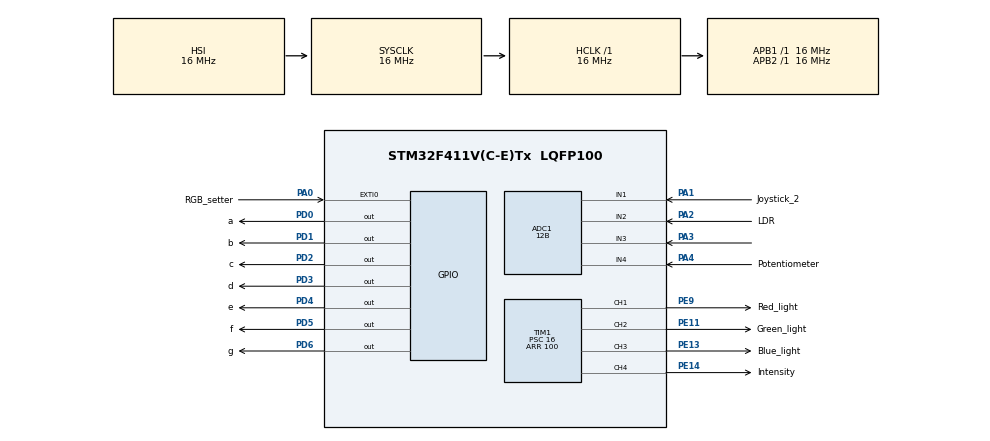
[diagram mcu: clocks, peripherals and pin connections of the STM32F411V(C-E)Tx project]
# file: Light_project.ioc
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ADC1.Channel-0\#ChannelRegularConversion=ADC_CHANNEL_3
ADC1.Channel-1\#ChannelRegularConversion=ADC_CHANNEL_1
ADC1.Channel-2\#ChannelRegularConversion=ADC_CHANNEL_2
ADC1.Channel-4\#ChannelRegularConversion=ADC_CHANNEL_4
ADC1.ClockPrescaler=ADC_CLOCK_SYNC_PCLK_DIV2
ADC1.ContinuousConvMode=ENABLE
ADC1.DMAContinuousRequests=ENABLE
ADC1.DataAlign=ADC_DATAALIGN_RIGHT
ADC1.DiscontinuousConvMode=DISABLE
ADC1.EOCSelection=ADC_EOC_SINGLE_CONV
ADC1.EnableAnalogWatchDog=false
ADC1.ExternalTrigConv=ADC_SOFTWARE_START
ADC1.ExternalTrigConvEdge=ADC_EXTERNALTRIGCONVEDGE_NONE
ADC1.InjNumberOfConversion=0
ADC1.NbrOfConversion=4
ADC1.NbrOfConversionFlag=1
ADC1.Rank-0\#ChannelRegularConversion=1
ADC1.Rank-1\#ChannelRegularConversion=2
ADC1.Rank-2\#ChannelRegularConversion=3
ADC1.Rank-4\#ChannelRegularConversion=4
ADC1.Resolution=ADC_RESOLUTION_12B
ADC1.SamplingTime-0\#ChannelRegularConversion=ADC_SAMPLETIME_3CYCLES
ADC1.SamplingTime-1\#ChannelRegularConversion=ADC_SAMPLETIME_3CYCLES
ADC1.SamplingTime-2\#ChannelRegularConversion=ADC_SAMPLETIME_3CYCLES
ADC1.SamplingTime-4\#ChannelRegularConversion=ADC_SAMPLETIME_3CYCLES
ADC1.ScanConvMode=ENABLE
ADC1.master=1
Dma.ADC1.0.Direction=DMA_PERIPH_TO_MEMORY
Dma.ADC1.0.FIFOMode=DMA_FIFOMODE_DISABLE
Dma.ADC1.0.Instance=DMA2_Stream0
Dma.ADC1.0.MemDataAlignment=DMA_MDATAALIGN_WORD
Dma.ADC1.0.MemInc=DMA_MINC_ENABLE
Dma.ADC1.0.Mode=DMA_CIRCULAR
Dma.ADC1.0.PeriphDataAlignment=DMA_PDATAALIGN_WORD
Dma.ADC1.0.PeriphInc=DMA_PINC_DISABLE
Dma.ADC1.0.Priority=DMA_PRIORITY_LOW
Dma.Request0=ADC1
Mcu.Family=STM32F4
Mcu.Name=STM32F411V(C-E)Tx
Mcu.Package=LQFP100
NVIC.DMA2_Stream0_IRQn=true\:0\:0\:false\:false\:true\:false
NVIC.EXTI0_IRQn=true\:0\:0\:false\:false\:true\:true
NVIC.PriorityGroup=NVIC_PRIORITYGROUP_4
PA0-WKUP.GPIO_Label=RGB_setter
PA0-WKUP.Signal=GPXTI0
PA1.GPIO_Label=Joystick_2
PA1.Signal=ADCx_IN1
PA2.GPIO_Label=LDR
PA2.Signal=ADCx_IN2
PA3.Signal=ADCx_IN3
PA4.GPIO_Label=Potentiometer
PA4.Signal=ADCx_IN4
PD0.GPIO_Label=a
PD0.Signal=GPIO_Output
PD1.GPIO_Label=b
PD1.Signal=GPIO_Output
PD2.GPIO_Label=c
PD2.Signal=GPIO_Output
PD3.GPIO_Label=d
PD3.Signal=GPIO_Output
PD4.GPIO_Label=e
PD4.Signal=GPIO_Output
PD5.GPIO_Label=f
PD5.Signal=GPIO_Output
PD6.GPIO_Label=g
PD6.Signal=GPIO_Output
PE11.GPIO_Label=Green_light
PE11.Signal=S_TIM1_CH2
PE13.GPIO_Label=Blue_light
PE13.Signal=S_TIM1_CH3
PE14.GPIO_Label=Intensity
PE14.Signal=S_TIM1_CH4
PE9.GPIO_Label=Red_light
PE9.Signal=S_TIM1_CH1
ProjectManager.HeapSize=0x200
ProjectManager.StackSize=0x400
ProjectManager.TargetToolchain=MDK-ARM V5
RCC.AHBFreq_Value=16000000
RCC.APB1Freq_Value=16000000
RCC.APB2Freq_Value=16000000
RCC.CortexFreq_Value=16000000
RCC.HSE_VALUE=25000000
RCC.HSI_VALUE=16000000
RCC.LSE_VALUE=32768
RCC.SYSCLKFreq_VALUE=16000000
RCC.VCOOutputFreq_Value=192000000
SH.ADCx_IN1.0=ADC1_IN1,IN1
SH.ADCx_IN2.0=ADC1_IN2,IN2
SH.ADCx_IN3.0=ADC1_IN3,IN3
SH.ADCx_IN4.0=ADC1_IN4,IN4
SH.S_TIM1_CH1.0=TIM1_CH1,PWM Generation1 CH1
SH.S_TIM1_CH2.0=TIM1_CH2,PWM Generation2 CH2
SH.S_TIM1_CH3.0=TIM1_CH3,PWM Generation3 CH3
SH.S_TIM1_CH4.0=TIM1_CH4,PWM Generation4 CH4
TIM1.Channel-PWM\ Generation1\ CH1=TIM_CHANNEL_1
TIM1.Channel-PWM\ Generation2\ CH2=TIM_CHANNEL_2
TIM1.Channel-PWM\ Generation3\ CH3=TIM_CHANNEL_3
TIM1.Channel-PWM\ Generation4\ CH4=TIM_CHANNEL_4
TIM1.Period=100
TIM1.Prescaler=16
VP_TIM1_VS_ClockSourceINT.Mode=Internal
board=custom

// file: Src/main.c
/**
  ******************************************************************************
  * @file           : main.c
  * @brief          : Main program body
  ******************************************************************************
  ** This notice applies to any and all portions of this file
  * that are not between comment pairs USER CODE BEGIN and
  * USER CODE END. Other portions of this file, whether
  * inserted by the user or by software development tools
  * are owned by their respective copyright owners.
  *
  * COPYRIGHT(c) 2019 STMicroelectronics
  *
  * Redistribution and use in source and binary forms, with or without modification,
  * are permitted provided that the following conditions are met:
  *   1. Redistributions of source code must retain the above copyright notice,
  *      this list of conditions and the following disclaimer.
  *   2. Redistributions in binary form must reproduce the above copyright notice,
  *      this list of conditions and the following disclaimer in the documentation
  *      and/or other materials provided with the distribution.
  *   3. Neither the name of STMicroelectronics nor the names of its contributors
  *      may be used to endorse or promote products derived from this software
  *      without specific prior written permission.
  *
  * THIS SOFTWARE IS PROVIDED BY THE COPYRIGHT HOLDERS AND CONTRIBUTORS "AS IS"
  * AND ANY EXPRESS OR IMPLIED WARRANTIES, INCLUDING, BUT NOT LIMITED TO, THE
  * IMPLIED WARRANTIES OF MERCHANTABILITY AND FITNESS FOR A PARTICULAR PURPOSE ARE
  * DISCLAIMED. IN NO EVENT SHALL THE COPYRIGHT HOLDER OR CONTRIBUTORS BE LIABLE
  * FOR ANY DIRECT, INDIRECT, INCIDENTAL, SPECIAL, EXEMPLARY, OR CONSEQUENTIAL
  * DAMAGES (INCLUDING, BUT NOT LIMITED TO, PROCUREMENT OF SUBSTITUTE GOODS OR
  * SERVICES; LOSS OF USE, DATA, OR PROFITS; OR BUSINESS INTERRUPTION) HOWEVER
  * CAUSED AND ON ANY THEORY OF LIABILITY, WHETHER IN CONTRACT, STRICT LIABILITY,
  * OR TORT (INCLUDING NEGLIGENCE OR OTHERWISE) ARISING IN ANY WAY OUT OF THE USE
  * OF THIS SOFTWARE, EVEN IF ADVISED OF THE POSSIBILITY OF SUCH DAMAGE.
  *
  ******************************************************************************
  */
#include "main.h"
#include "stm32f4xx_hal.h"

/* USER CODE BEGIN Includes */
#include <stdbool.h>

//Defines
#define umbral_luz 200 // umbral que determina si hay o no luz
#define lim1 800 // límite asociado a un extremo del eje del potenciómetro
#define lim2 1200 // límite asociado a un extremo del eje del potenciómetro

/* USER CODE END Includes */

ADC_HandleTypeDef hadc1; // structura del Analog Digital Converter que guarda toda la configuración
DMA_HandleTypeDef hdma_adc1; // // structura del Direct MEmory Acces del Analog Digital Converter que guarda toda la configuración

TIM_HandleTypeDef htim1; // structura del Temporizador que guarda toda la configuración

/* USER CODE BEGIN PV */
/* Private variables ---------------------------------------------------------*/

/* USER CODE END PV */

void SystemClock_Config(void);
static void MX_GPIO_Init(void);
static void MX_DMA_Init(void);
static void MX_TIM1_Init(void);
static void MX_ADC1_Init(void);

void HAL_TIM_MspPostInit(TIM_HandleTypeDef *htim);

/* USER CODE BEGIN PFP */
/* Private function prototypes -----------------------------------------------*/

/* USER CODE END PFP */

/* USER CODE BEGIN 0 */

//Variables

volatile uint32_t ADC_buffer[4]; // Buffer que guarda los valores analógicos que se leen desde la DMA
int Intensidad = 0; // Valor del duty cycle que representará la intensidad a la que ilumina el LED seleccionado
bool R, L, U, D; // boolean variables para definir posición del joystick
volatile uint32_t Joystick_V, Joystick_H, LDR, Potentiometer; // Valores analógicos de los ejes X e Y del Joystic respectivamente y de la LDR y el potenciómetro
uint32_t num; // variable para representar en el display

// Valores que guardan el duty cycle de cada una de las luces

int Red_light, Green_light, Blue_light;

volatile bool flag = 0; // flag que simboliza la interrupción

//Funciones

void map ()// funcion encargada de traducir el valor analógico leído del Joystick a valores de dcha, izq, arriba y abajo o lo que se precise
{
	R = L = U = D = 0;
	if (ADC_buffer[0] < lim1)
		R = 1;
	if (ADC_buffer[0] > lim2)
		L = 1;
	if (ADC_buffer[1] < lim1)
		D = 1;
	if (ADC_buffer[1] > lim2)
		U = 1;
}

void Display_control (uint32_t P) // Decodifica el valor del potenciómetro y lo representa en el display
{
		num = P%10; //asocia al valor de la lectura analógica un número entre 0 y 97
		if (num == 9)
				num = 9; // Para evitar que se pase del máximo
		switch (num)
		{
			case 0:		// Display = 0xFC; //Respresenta el número 0 en el display ("0b11111100")
			{
								HAL_GPIO_WritePin(GPIOD, GPIO_PIN_0,  GPIO_PIN_SET);
								HAL_GPIO_WritePin(GPIOD, GPIO_PIN_1,  GPIO_PIN_SET);
								HAL_GPIO_WritePin(GPIOD, GPIO_PIN_2,  GPIO_PIN_SET);
								HAL_GPIO_WritePin(GPIOD, GPIO_PIN_3,  GPIO_PIN_SET);
								HAL_GPIO_WritePin(GPIOD, GPIO_PIN_4,  GPIO_PIN_SET);
								HAL_GPIO_WritePin(GPIOD, GPIO_PIN_5,  GPIO_PIN_SET);
								HAL_GPIO_WritePin(GPIOD, GPIO_PIN_6,  GPIO_PIN_RESET);
				break;
			}
			case 1:		// Display = 0x60; //Respresenta el número 0 en el display ("0b01100000")
			{
								HAL_GPIO_WritePin(GPIOD, GPIO_PIN_0,  GPIO_PIN_RESET);
								HAL_GPIO_WritePin(GPIOD, GPIO_PIN_1,  GPIO_PIN_SET);
								HAL_GPIO_WritePin(GPIOD, GPIO_PIN_2,  GPIO_PIN_SET);
								HAL_GPIO_WritePin(GPIOD, GPIO_PIN_3,  GPIO_PIN_RESET);
								HAL_GPIO_WritePin(GPIOD, GPIO_PIN_4,  GPIO_PIN_RESET);
								HAL_GPIO_WritePin(GPIOD, GPIO_PIN_5,  GPIO_PIN_RESET);
								HAL_GPIO_WritePin(GPIOD, GPIO_PIN_6,  GPIO_PIN_RESET);
				break;
			}
			case 2:		// Display = 0xDA; //Respresenta el número 0 en el display ("0b11011010")
			{
								HAL_GPIO_WritePin(GPIOD, GPIO_PIN_0,  GPIO_PIN_SET);
								HAL_GPIO_WritePin(GPIOD, GPIO_PIN_1,  GPIO_PIN_SET);
								HAL_GPIO_WritePin(GPIOD, GPIO_PIN_2,  GPIO_PIN_RESET);
								HAL_GPIO_WritePin(GPIOD, GPIO_PIN_3,  GPIO_PIN_SET);
								HAL_GPIO_WritePin(GPIOD, GPIO_PIN_4,  GPIO_PIN_SET);
								HAL_GPIO_WritePin(GPIOD, GPIO_PIN_5,  GPIO_PIN_RESET);
								HAL_GPIO_WritePin(GPIOD, GPIO_PIN_6,  GPIO_PIN_SET);
				break;
			}
			case 3:		// Display = 0xF2; //Respresenta el número 0 en el display ("0b11110010")
			{
								HAL_GPIO_WritePin(GPIOD, GPIO_PIN_0,  GPIO_PIN_SET);
								HAL_GPIO_WritePin(GPIOD, GPIO_PIN_1,  GPIO_PIN_SET);
								HAL_GPIO_WritePin(GPIOD, GPIO_PIN_2,  GPIO_PIN_SET);
								HAL_GPIO_WritePin(GPIOD, GPIO_PIN_3,  GPIO_PIN_SET);
								HAL_GPIO_WritePin(GPIOD, GPIO_PIN_4,  GPIO_PIN_RESET);
								HAL_GPIO_WritePin(GPIOD, GPIO_PIN_5,  GPIO_PIN_RESET);
								HAL_GPIO_WritePin(GPIOD, GPIO_PIN_6,  GPIO_PIN_SET);
				break;
			}
			case 4:		// Display = 0x66; //Respresenta el número 0 en el display ("0b01100110")
			{
								HAL_GPIO_WritePin(GPIOD, GPIO_PIN_0,  GPIO_PIN_RESET);
								HAL_GPIO_WritePin(GPIOD, GPIO_PIN_1,  GPIO_PIN_SET);
								HAL_GPIO_WritePin(GPIOD, GPIO_PIN_2,  GPIO_PIN_SET);
								HAL_GPIO_WritePin(GPIOD, GPIO_PIN_3,  GPIO_PIN_RESET);
								HAL_GPIO_WritePin(GPIOD, GPIO_PIN_4,  GPIO_PIN_RESET);
								HAL_GPIO_WritePin(GPIOD, GPIO_PIN_5,  GPIO_PIN_SET);
								HAL_GPIO_WritePin(GPIOD, GPIO_PIN_6,  GPIO_PIN_SET);
				break;
			}
			case 5:		// Display = 0xB6; //Respresenta el número 0 en el display ("0b10110110")
			{
								HAL_GPIO_WritePin(GPIOD, GPIO_PIN_0,  GPIO_PIN_SET);
								HAL_GPIO_WritePin(GPIOD, GPIO_PIN_1,  GPIO_PIN_RESET);
								HAL_GPIO_WritePin(GPIOD, GPIO_PIN_2,  GPIO_PIN_SET);
								HAL_GPIO_WritePin(GPIOD, GPIO_PIN_3,  GPIO_PIN_SET);
								HAL_GPIO_WritePin(GPIOD, GPIO_PIN_4,  GPIO_PIN_RESET);
								HAL_GPIO_WritePin(GPIOD, GPIO_PIN_5,  GPIO_PIN_SET);
								HAL_GPIO_WritePin(GPIOD, GPIO_PIN_6,  GPIO_PIN_SET);
				break;
			}
			case 6:		// Display = 0xBE; //Respresenta el número 0 en el display ("0b10111110")
			{
								HAL_GPIO_WritePin(GPIOD, GPIO_PIN_0,  GPIO_PIN_SET);
								HAL_GPIO_WritePin(GPIOD, GPIO_PIN_1,  GPIO_PIN_RESET);
								HAL_GPIO_WritePin(GPIOD, GPIO_PIN_2,  GPIO_PIN_SET);
								HAL_GPIO_WritePin(GPIOD, GPIO_PIN_3,  GPIO_PIN_SET);
								HAL_GPIO_WritePin(GPIOD, GPIO_PIN_4,  GPIO_PIN_SET);
								HAL_GPIO_WritePin(GPIOD, GPIO_PIN_5,  GPIO_PIN_SET);
								HAL_GPIO_WritePin(GPIOD, GPIO_PIN_6,  GPIO_PIN_SET);
				break;
			}
			case 7:		// Display = 0xE0; //Respresenta el número 0 en el display ("0b11100000")
			{
								HAL_GPIO_WritePin(GPIOD, GPIO_PIN_0,  GPIO_PIN_SET);
								HAL_GPIO_WritePin(GPIOD, GPIO_PIN_1,  GPIO_PIN_SET);
								HAL_GPIO_WritePin(GPIOD, GPIO_PIN_2,  GPIO_PIN_SET);
								HAL_GPIO_WritePin(GPIOD, GPIO_PIN_3,  GPIO_PIN_RESET);
								HAL_GPIO_WritePin(GPIOD, GPIO_PIN_4,  GPIO_PIN_RESET);
								HAL_GPIO_WritePin(GPIOD, GPIO_PIN_5,  GPIO_PIN_RESET);
								HAL_GPIO_WritePin(GPIOD, GPIO_PIN_6,  GPIO_PIN_RESET);
				break;
			}
			case 8:		// Display = 0xFE; //Respresenta el número 0 en el display ("0b11111110")
			{
								HAL_GPIO_WritePin(GPIOD, GPIO_PIN_0,  GPIO_PIN_SET);
								HAL_GPIO_WritePin(GPIOD, GPIO_PIN_1,  GPIO_PIN_SET);
								HAL_GPIO_WritePin(GPIOD, GPIO_PIN_2,  GPIO_PIN_SET);
								HAL_GPIO_WritePin(GPIOD, GPIO_PIN_3,  GPIO_PIN_SET);
								HAL_GPIO_WritePin(GPIOD, GPIO_PIN_4,  GPIO_PIN_SET);
								HAL_GPIO_WritePin(GPIOD, GPIO_PIN_5,  GPIO_PIN_SET);
								HAL_GPIO_WritePin(GPIOD, GPIO_PIN_6,  GPIO_PIN_SET);
								break;
			}
			case 9:		// Display = 0xE6; //Respresenta el número 0 en el display ("0b11100110")
			{
								HAL_GPIO_WritePin(GPIOD, GPIO_PIN_0,  GPIO_PIN_SET);
								HAL_GPIO_WritePin(GPIOD, GPIO_PIN_1,  GPIO_PIN_SET);
								HAL_GPIO_WritePin(GPIOD, GPIO_PIN_2,  GPIO_PIN_SET);
								HAL_GPIO_WritePin(GPIOD, GPIO_PIN_3,  GPIO_PIN_RESET);
								HAL_GPIO_WritePin(GPIOD, GPIO_PIN_4,  GPIO_PIN_RESET);
								HAL_GPIO_WritePin(GPIOD, GPIO_PIN_5,  GPIO_PIN_SET);
								HAL_GPIO_WritePin(GPIOD, GPIO_PIN_6,  GPIO_PIN_SET);
								break;
			}
		}

		// Apaga el Display tras cada ciclo

		HAL_GPIO_WritePin(GPIOD, GPIO_PIN_0,  GPIO_PIN_RESET);
		HAL_GPIO_WritePin(GPIOD, GPIO_PIN_1,  GPIO_PIN_RESET);
		HAL_GPIO_WritePin(GPIOD, GPIO_PIN_2,  GPIO_PIN_RESET);
		HAL_GPIO_WritePin(GPIOD, GPIO_PIN_3,  GPIO_PIN_RESET);
		HAL_GPIO_WritePin(GPIOD, GPIO_PIN_4,  GPIO_PIN_RESET);
		HAL_GPIO_WritePin(GPIOD, GPIO_PIN_5,  GPIO_PIN_RESET);
		HAL_GPIO_WritePin(GPIOD, GPIO_PIN_6,  GPIO_PIN_RESET);
}

void enable_lights(bool EN) // Función que determina si cuándo se iluminan las luces
{
		if (EN)
		{
					__HAL_TIM_SET_COMPARE(&htim1, TIM_CHANNEL_4, Intensidad); // Iluminan los LEDs con la intensidad determinada por el potenciómetro
		}
		else
					__HAL_TIM_SET_COMPARE(&htim1, TIM_CHANNEL_4, 0); // Apaga los LEDs en caso de que haya luz
}

void RGB_Control ()
{
				map();// mapea el valor del joystick para determinar la posición en la que se encuentra

				if(U) //En caso de que esté arriba iluminan dos luces de modo que cada una tenga un valor disstinto
				{
						Red_light = 100 - (Joystick_V%100);
						Blue_light = Joystick_H - Joystick_V%100;

					  // Ilumina en función de los valores analógicos

						__HAL_TIM_SET_COMPARE(&htim1, TIM_CHANNEL_1, Red_light);
						__HAL_TIM_SET_COMPARE(&htim1, TIM_CHANNEL_3, Blue_light);
				}
				if(D) //En caso de que esté abajo iluminan dos luces de modo que cada una tenga un valor disstinto
				{
						Green_light = Joystick_V%100;
						Red_light = Joystick_H%100;

					  // Ilumina en función de los valores analógicos

						__HAL_TIM_SET_COMPARE(&htim1, TIM_CHANNEL_2, Green_light);
						__HAL_TIM_SET_COMPARE(&htim1, TIM_CHANNEL_1, Red_light);
				}
				if(R) //En caso de que esté a la derecha iluminan dos luces de modo que cada una tenga un valor disstinto
				{
						Blue_light = Joystick_H- (Joystick_V%100);
						Green_light = Joystick_V%100;

					  // Ilumina en función de los valores analógicos

						__HAL_TIM_SET_COMPARE(&htim1, TIM_CHANNEL_3, Blue_light);
						__HAL_TIM_SET_COMPARE(&htim1, TIM_CHANNEL_2, Green_light);
				}
				if(L) //En caso de que esté a la izquierda iluminan las tres luces de modo que cada una tenga un valor disstinto
				{
						Blue_light = Joystick_H- (Joystick_V%100);
						Green_light = Joystick_V%100;
						Red_light = 100 - (Joystick_V%100);

					  // Ilumina en función de los valores analógicos

						__HAL_TIM_SET_COMPARE(&htim1, TIM_CHANNEL_3, Blue_light);
						__HAL_TIM_SET_COMPARE(&htim1, TIM_CHANNEL_2, Green_light);
						__HAL_TIM_SET_COMPARE(&htim1, TIM_CHANNEL_1, Red_light);
				}
}

void HAL_GPIO_EXTI_Callback(uint16_t GPIO_Pin) // Callback de la interrupción
{
	if (GPIO_Pin == GPIO_PIN_0)
	{
			flag = !flag;
	}
}

void HAL_ADC_ConvCpltCallback(ADC_HandleTypeDef* hadc1) // Callback del DMA
{
			// Asignaciones de las lecturas guardadas en el ADC_buffer con sus respectivas varibales
			Joystick_V = ADC_buffer [0];
			Joystick_H = ADC_buffer [1];
			LDR = ADC_buffer [2];
			Potentiometer = ADC_buffer [3];

			// Programa

			Intensidad = ((Potentiometer)/100)%100; // Transforma el valor de la lectura analógica a un valor asociado al duty cycle de los LEDs
				if(LDR < umbral_luz) // La lectura de la resistencia está por debajo del umbral
				{
						enable_lights(false); // en caso de que haya más luz de la esperada apaga las luces
				}
				else
				{
						enable_lights(true); // en caso de que haya más luz de la esperada enciende las luces
				}

				Display_control(Intensidad); // le pasa el valor del potenciómetro a la funciçon para poder decodificar el valor y representarlo en el display

				if(flag == 0) // flag que indica que se ha pulsado el botón
				{
						RGB_Control(); // Llama a la función que controla el cambio del color del led RGB
				}
}

/* USER CODE END 0 */

int main(void)
{

  /* MCU Configuration----------------------------------------------------------*/

  /* Reset of all peripherals, Initializes the Flash interface and the Systick. */
  HAL_Init();

  /* Configure the system clock */
  SystemClock_Config();

  /* Initialize all configured peripherals */
  MX_GPIO_Init();
  MX_DMA_Init();
  MX_TIM1_Init();
  MX_ADC1_Init();
  /* USER CODE BEGIN 2 */

	// Inicialización de los canales del temporizador

	HAL_TIM_PWM_Start(&htim1, TIM_CHANNEL_1);
	HAL_TIM_PWM_Start(&htim1, TIM_CHANNEL_2);
	HAL_TIM_PWM_Start(&htim1, TIM_CHANNEL_3);
  HAL_TIM_PWM_Start(&htim1, TIM_CHANNEL_4);

	HAL_ADC_Start_DMA (&hadc1, ADC_buffer, 4); // le pasa al DMA el vector donde guardará los valores leídos en los canales
  /* USER CODE END 2 */

  /* Infinite loop */
  while (1)
  {

  }

}

void SystemClock_Config(void)
{

  RCC_OscInitTypeDef RCC_OscInitStruct;
  RCC_ClkInitTypeDef RCC_ClkInitStruct;

    /**Configure the main internal regulator output voltage
    */
  __HAL_RCC_PWR_CLK_ENABLE();

  __HAL_PWR_VOLTAGESCALING_CONFIG(PWR_REGULATOR_VOLTAGE_SCALE1);

    /**Initializes the CPU, AHB and APB busses clocks
    */
  RCC_OscInitStruct.OscillatorType = RCC_OSCILLATORTYPE_HSI;
  RCC_OscInitStruct.HSIState = RCC_HSI_ON;
  RCC_OscInitStruct.HSICalibrationValue = 16;
  RCC_OscInitStruct.PLL.PLLState = RCC_PLL_NONE;
  if (HAL_RCC_OscConfig(&RCC_OscInitStruct) != HAL_OK)
  {
    _Error_Handler(__FILE__, __LINE__);
  }

    /**Initializes the CPU, AHB and APB busses clocks
    */
  RCC_ClkInitStruct.ClockType = RCC_CLOCKTYPE_HCLK|RCC_CLOCKTYPE_SYSCLK
                              |RCC_CLOCKTYPE_PCLK1|RCC_CLOCKTYPE_PCLK2;
  RCC_ClkInitStruct.SYSCLKSource = RCC_SYSCLKSOURCE_HSI;
  RCC_ClkInitStruct.AHBCLKDivider = RCC_SYSCLK_DIV1;
  RCC_ClkInitStruct.APB1CLKDivider = RCC_HCLK_DIV1;
  RCC_ClkInitStruct.APB2CLKDivider = RCC_HCLK_DIV1;

  if (HAL_RCC_ClockConfig(&RCC_ClkInitStruct, FLASH_LATENCY_0) != HAL_OK)
  {
    _Error_Handler(__FILE__, __LINE__);
  }

    /**Configure the Systick interrupt time
    */
  HAL_SYSTICK_Config(HAL_RCC_GetHCLKFreq()/1000);

    /**Configure the Systick
    */
  HAL_SYSTICK_CLKSourceConfig(SYSTICK_CLKSOURCE_HCLK);

  /* SysTick_IRQn interrupt configuration */
  HAL_NVIC_SetPriority(SysTick_IRQn, 0, 0);
}

/* ADC1 init function */
static void MX_ADC1_Init(void)
{

  ADC_ChannelConfTypeDef sConfig;

    /**Configure the global features of the ADC (Clock, Resolution, Data Alignment and number of conversion)
    */
  hadc1.Instance = ADC1;
  hadc1.Init.ClockPrescaler = ADC_CLOCK_SYNC_PCLK_DIV2;
  hadc1.Init.Resolution = ADC_RESOLUTION_12B;
  hadc1.Init.ScanConvMode = ENABLE;
  hadc1.Init.ContinuousConvMode = ENABLE;
  hadc1.Init.DiscontinuousConvMode = DISABLE;
  hadc1.Init.ExternalTrigConvEdge = ADC_EXTERNALTRIGCONVEDGE_NONE;
  hadc1.Init.ExternalTrigConv = ADC_SOFTWARE_START;
  hadc1.Init.DataAlign = ADC_DATAALIGN_RIGHT;
  hadc1.Init.NbrOfConversion = 4;
  hadc1.Init.DMAContinuousRequests = ENABLE;
  hadc1.Init.EOCSelection = ADC_EOC_SINGLE_CONV;
  if (HAL_ADC_Init(&hadc1) != HAL_OK)
  {
    _Error_Handler(__FILE__, __LINE__);
  }

    /**Configure for the selected ADC regular channel its corresponding rank in the sequencer and its sample time.
    */
  sConfig.Channel = ADC_CHANNEL_3;
  sConfig.Rank = 1;
  sConfig.SamplingTime = ADC_SAMPLETIME_3CYCLES;
  if (HAL_ADC_ConfigChannel(&hadc1, &sConfig) != HAL_OK)
  {
    _Error_Handler(__FILE__, __LINE__);
  }

    /**Configure for the selected ADC regular channel its corresponding rank in the sequencer and its sample time.
    */
  sConfig.Channel = ADC_CHANNEL_1;
  sConfig.Rank = 2;
  if (HAL_ADC_ConfigChannel(&hadc1, &sConfig) != HAL_OK)
  {
    _Error_Handler(__FILE__, __LINE__);
  }

    /**Configure for the selected ADC regular channel its corresponding rank in the sequencer and its sample time.
    */
  sConfig.Channel = ADC_CHANNEL_2;
  sConfig.Rank = 3;
  if (HAL_ADC_ConfigChannel(&hadc1, &sConfig) != HAL_OK)
  {
    _Error_Handler(__FILE__, __LINE__);
  }

    /**Configure for the selected ADC regular channel its corresponding rank in the sequencer and its sample time.
    */
  sConfig.Channel = ADC_CHANNEL_4;
  sConfig.Rank = 4;
  if (HAL_ADC_ConfigChannel(&hadc1, &sConfig) != HAL_OK)
  {
    _Error_Handler(__FILE__, __LINE__);
  }

}

/* TIM1 init function */
static void MX_TIM1_Init(void)
{

  TIM_ClockConfigTypeDef sClockSourceConfig;
  TIM_MasterConfigTypeDef sMasterConfig;
  TIM_OC_InitTypeDef sConfigOC;
  TIM_BreakDeadTimeConfigTypeDef sBreakDeadTimeConfig;

  htim1.Instance = TIM1;
  htim1.Init.Prescaler = 16;
  htim1.Init.CounterMode = TIM_COUNTERMODE_UP;
  htim1.Init.Period = 100;
  htim1.Init.ClockDivision = TIM_CLOCKDIVISION_DIV1;
  htim1.Init.RepetitionCounter = 0;
  if (HAL_TIM_Base_Init(&htim1) != HAL_OK)
  {
    _Error_Handler(__FILE__, __LINE__);
  }

  sClockSourceConfig.ClockSource = TIM_CLOCKSOURCE_INTERNAL;
  if (HAL_TIM_ConfigClockSource(&htim1, &sClockSourceConfig) != HAL_OK)
  {
    _Error_Handler(__FILE__, __LINE__);
  }

  if (HAL_TIM_PWM_Init(&htim1) != HAL_OK)
  {
    _Error_Handler(__FILE__, __LINE__);
  }

  sMasterConfig.MasterOutputTrigger = TIM_TRGO_RESET;
  sMasterConfig.MasterSlaveMode = TIM_MASTERSLAVEMODE_DISABLE;
  if (HAL_TIMEx_MasterConfigSynchronization(&htim1, &sMasterConfig) != HAL_OK)
  {
    _Error_Handler(__FILE__, __LINE__);
  }

  sConfigOC.OCMode = TIM_OCMODE_PWM1;
  sConfigOC.Pulse = 0;
  sConfigOC.OCPolarity = TIM_OCPOLARITY_HIGH;
  sConfigOC.OCNPolarity = TIM_OCNPOLARITY_HIGH;
  sConfigOC.OCFastMode = TIM_OCFAST_DISABLE;
  sConfigOC.OCIdleState = TIM_OCIDLESTATE_RESET;
  sConfigOC.OCNIdleState = TIM_OCNIDLESTATE_RESET;
  if (HAL_TIM_PWM_ConfigChannel(&htim1, &sConfigOC, TIM_CHANNEL_1) != HAL_OK)
  {
    _Error_Handler(__FILE__, __LINE__);
  }

  if (HAL_TIM_PWM_ConfigChannel(&htim1, &sConfigOC, TIM_CHANNEL_2) != HAL_OK)
  {
    _Error_Handler(__FILE__, __LINE__);
  }

  if (HAL_TIM_PWM_ConfigChannel(&htim1, &sConfigOC, TIM_CHANNEL_3) != HAL_OK)
  {
    _Error_Handler(__FILE__, __LINE__);
  }

  if (HAL_TIM_PWM_ConfigChannel(&htim1, &sConfigOC, TIM_CHANNEL_4) != HAL_OK)
  {
    _Error_Handler(__FILE__, __LINE__);
  }

  sBreakDeadTimeConfig.OffStateRunMode = TIM_OSSR_DISABLE;
  sBreakDeadTimeConfig.OffStateIDLEMode = TIM_OSSI_DISABLE;
  sBreakDeadTimeConfig.LockLevel = TIM_LOCKLEVEL_OFF;
  sBreakDeadTimeConfig.DeadTime = 0;
  sBreakDeadTimeConfig.BreakState = TIM_BREAK_DISABLE;
  sBreakDeadTimeConfig.BreakPolarity = TIM_BREAKPOLARITY_HIGH;
  sBreakDeadTimeConfig.AutomaticOutput = TIM_AUTOMATICOUTPUT_DISABLE;
  if (HAL_TIMEx_ConfigBreakDeadTime(&htim1, &sBreakDeadTimeConfig) != HAL_OK)
  {
    _Error_Handler(__FILE__, __LINE__);
  }

  HAL_TIM_MspPostInit(&htim1);

}

static void MX_DMA_Init(void)
{
  /* DMA controller clock enable */
  __HAL_RCC_DMA2_CLK_ENABLE();

  /* DMA interrupt init */
  /* DMA2_Stream0_IRQn interrupt configuration */
  HAL_NVIC_SetPriority(DMA2_Stream0_IRQn, 0, 0);
  HAL_NVIC_EnableIRQ(DMA2_Stream0_IRQn);

}

/** Configure pins as
        * Analog
        * Input
        * Output
        * EVENT_OUT
        * EXTI
*/
static void MX_GPIO_Init(void)
{

  GPIO_InitTypeDef GPIO_InitStruct;

  /* GPIO Ports Clock Enable */
  __HAL_RCC_GPIOA_CLK_ENABLE();
  __HAL_RCC_GPIOE_CLK_ENABLE();
  __HAL_RCC_GPIOD_CLK_ENABLE();

  /*Configure GPIO pin Output Level */
  HAL_GPIO_WritePin(GPIOD, a_Pin|b_Pin|c_Pin|d_Pin
                          |e_Pin|f_Pin|g_Pin, GPIO_PIN_RESET);

  /*Configure GPIO pin : RGB_setter_Pin */
  GPIO_InitStruct.Pin = RGB_setter_Pin;
  GPIO_InitStruct.Mode = GPIO_MODE_IT_RISING;
  GPIO_InitStruct.Pull = GPIO_NOPULL;
  HAL_GPIO_Init(RGB_setter_GPIO_Port, &GPIO_InitStruct);

  /*Configure GPIO pins : a_Pin b_Pin c_Pin d_Pin
                           e_Pin f_Pin g_Pin */
  GPIO_InitStruct.Pin = a_Pin|b_Pin|c_Pin|d_Pin
                          |e_Pin|f_Pin|g_Pin;
  GPIO_InitStruct.Mode = GPIO_MODE_OUTPUT_PP;
  GPIO_InitStruct.Pull = GPIO_NOPULL;
  GPIO_InitStruct.Speed = GPIO_SPEED_FREQ_LOW;
  HAL_GPIO_Init(GPIOD, &GPIO_InitStruct);

  /* EXTI interrupt init*/
  HAL_NVIC_SetPriority(EXTI0_IRQn, 0, 0);
  HAL_NVIC_EnableIRQ(EXTI0_IRQn);

}

void _Error_Handler(char *file, int line)
{
  while(1)
  {
  }
}

/************************ (C) COPYRIGHT STMicroelectronics *****END OF FILE****/
